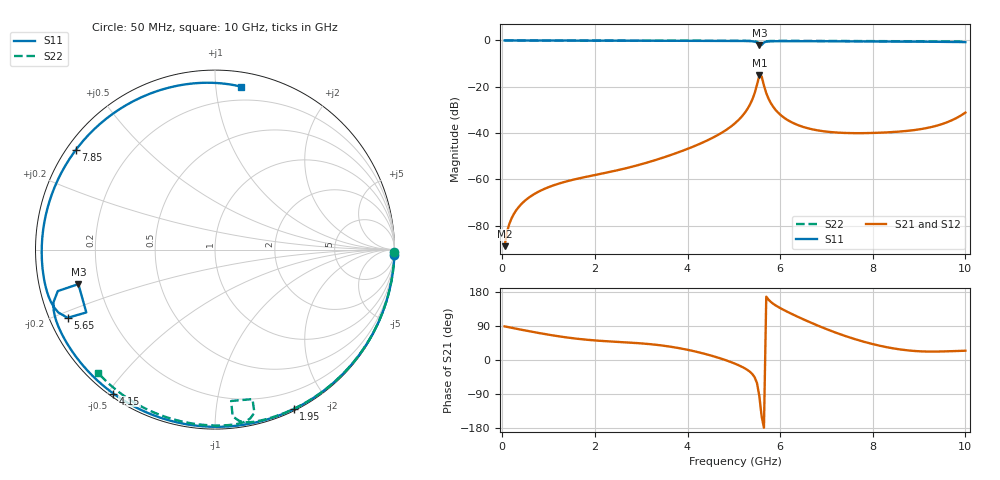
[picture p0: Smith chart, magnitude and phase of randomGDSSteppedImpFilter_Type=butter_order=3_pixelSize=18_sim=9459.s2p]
! freq	dB(S11)	phase(S11)	dB(S12)	phase(S12)
!  dB(S21)	phase(S21)	dB(S22)	phase(S22)
!S-par simulation data
#  GHz  S  DB  R 50
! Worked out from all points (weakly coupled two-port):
!   200 points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, 50 MHz to 10 GHz, reference 50 ohm
!   highest |S21| = -15.14 dB at 5.55 GHz (marker M1); lowest = -88.9 dB at 50 MHz (marker M2)
!   lowest |S11| = -2.1 dB at 5.55 GHz (marker M3), VSWR 8.31, Z = 6.11 - j6.13 ohm
!   |S11| at or under -10 dB: nowhere
!   |S22| runs from -1.4 to 0.0 dB; largest |S21 - S12| = 0
!   S11 on the Smith chart (normalised r, x): 50 MHz: 0, -67; 1.95 GHz: 0.02, -1.61; 4.15 GHz: 0.01, -0.52; 5.65 GHz: 0.05, -0.22; 7.85 GHz: 0.03, +0.32; 10 GHz: 0.10, +1.16
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0.05  -0.00 -1.7  -88.92 88.7  -88.92 88.7  -0.00 -0.8
0.15  -0.01 -5.1  -79.40 86.2  -79.40 86.2  -0.00 -2.3
0.35  -0.02 -11.9  -72.10 81.3  -72.10 81.3  -0.01 -5.4
0.65  -0.03 -21.9  -66.88 74.3  -66.88 74.3  -0.01 -10.0
1.75  -0.07 -57.5  -59.20 54.3  -59.20 54.3  -0.03 -26.6
1.95  -0.08 -63.7  -58.37 52.1  -58.37 52.1  -0.04 -29.6
2.65  -0.10 -84.5  -55.34 46.7  -55.34 46.7  -0.05 -39.9
3.4  -0.13 -105.4  -51.11 39.0  -51.11 39.0  -0.07 -50.7
4.15  -0.16 -125.2  -45.66 23.0  -45.66 23.0  -0.09 -61.3
5.05  -0.21 -148.5  -35.34 -11.0  -35.34 -11.0  -0.12 -74.1
5.35  -0.30 -157.5  -27.63 -31.3  -27.63 -31.3  -0.18 -79.2
5.5  -0.86 -165.2  -19.17 -61.0  -19.17 -61.0  -0.59 -84.0
5.55  -2.10 -165.8  -15.14 -94.9  -15.14 -94.9  -1.43 -83.9
5.6  -1.96 -154.0  -15.53 -148.7  -15.53 -148.7  -1.32 -75.9
5.65  -0.87 -155.2  -19.48 -178.9  -19.48 -178.9  -0.58 -76.4
5.8  -0.36 -162.4  -27.14 153.1  -27.14 153.1  -0.22 -80.8
6  -0.30 -168.5  -32.04 137.1  -32.04 137.1  -0.17 -84.3
6.7  -0.32 173.5  -38.44 96.7  -38.44 96.7  -0.19 -93.8
7.85  -0.41 144.4  -40.05 46.7  -40.05 46.7  -0.26 -108.0
8.35  -0.46 131.1  -39.69 32.7  -39.69 32.7  -0.30 -114.0
9.3  -0.56 104.0  -37.27 22.1  -37.27 22.1  -0.39 -125.2
10  -0.73 81.1  -31.18 24.5  -31.18 24.5  -0.49 -133.6
